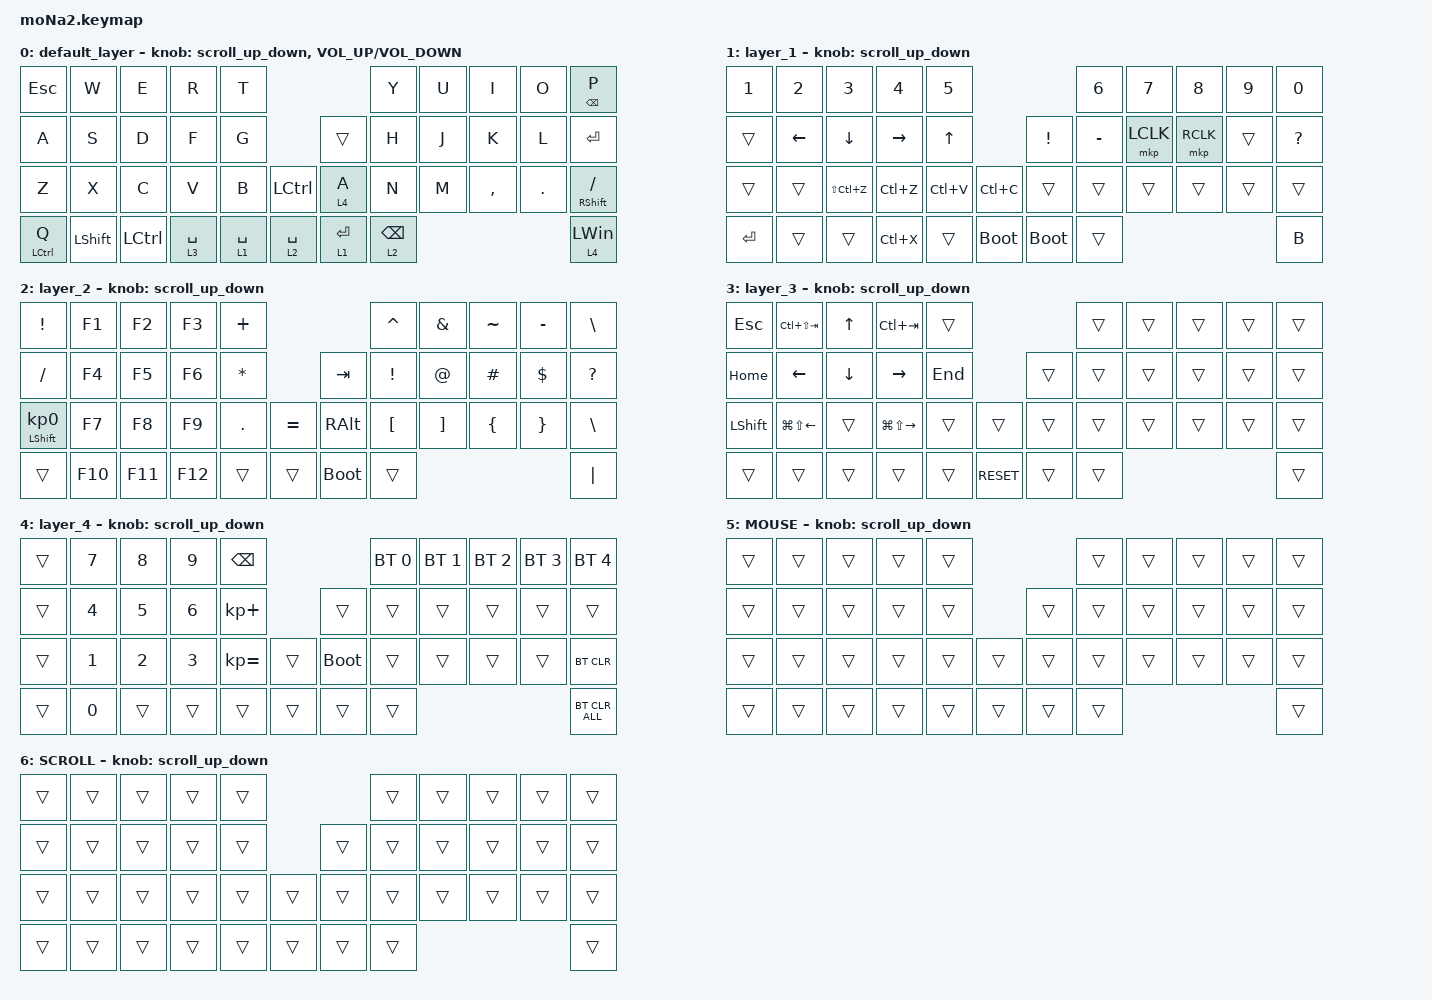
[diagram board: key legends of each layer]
#include <behaviors.dtsi>
#include <dt-bindings/zmk/bt.h>
#include <dt-bindings/zmk/keys.h>
#include <dt-bindings/zmk/pointing.h>

#define ZMK_POINTING_DEFAULT_SCRL_VAL 100
#define MOUSE 5
#define SCROLL 6

&mt {
    flavor = "balanced";
    quick-tap-ms = <0>;
};

/ {
    combos { compatible = "zmk,combos"; };

    macros {
        to_layer_0: to_layer_0 {
            compatible = "zmk,behavior-macro-one-param";
            #binding-cells = <1>;
            bindings = <&to 0 &macro_param_1to1 &kp MACRO_PLACEHOLDER>;
            label = "TO_LAYER_0";
        };
    };

    behaviors {
        lt_to_layer_0: lt_to_layer_0 {
            compatible = "zmk,behavior-hold-tap";
            label = "LAYER_TAP_TO_0";
            bindings = <&mo>, <&to_layer_0>;

            #binding-cells = <2>;
            tapping-term-ms = <1000>;
        };

        scroll_up_down: behavior_sensor_rotate_mouse_wheel_up_down {
            compatible = "zmk,behavior-sensor-rotate";
            #sensor-binding-cells = <0>;
            bindings = <&msc SCRL_UP>, <&msc SCRL_DOWN>;

            tap-ms = <20>;
        };
    };

    keymap {
        compatible = "zmk,keymap";

        default_layer {
            bindings = <
&kp ESCAPE   &kp W           &kp E      &kp R        &kp T                                    &kp Y            &kp U  &kp I      &kp O    &mt BACKSPACE P
&kp A        &kp S           &kp D      &kp F        &kp G                       &trans       &kp H            &kp J  &kp K      &kp L    &kp ENTER
&kp Z        &kp X           &kp C      &kp V        &kp B        &kp LCTRL      &lt 4 A      &kp N            &kp M  &kp COMMA  &kp DOT  &mt RIGHT_SHIFT SLASH
&mt LCTRL Q  &kp LEFT_SHIFT  &kp LCTRL  &lt 3 SPACE  &lt 1 SPACE  &lt 2 SPACE    &lt 1 ENTER  &lt 2 BACKSPACE                             &lt 4 LEFT_WIN
            >;

            sensor-bindings =
                <&scroll_up_down>,
                <&inc_dec_kp C_VOLUME_UP C_VOLUME_DOWN>;
        };

        layer_1 {
            bindings = <
&kp NUMBER_1  &kp NUMBER_2    &kp NUMBER_3    &kp NUMBER_4     &kp N5                                        &kp N6     &kp N7     &kp N8     &kp N9  &kp N0
&trans        &kp LEFT_ARROW  &kp DOWN_ARROW  &kp RIGHT_ARROW  &kp UP_ARROW                 &kp EXCLAMATION  &kp MINUS  &mkp LCLK  &mkp RCLK  &trans  &kp QUESTION
&trans        &trans          &kp LS(LC(Z))   &kp LC(Z)        &kp LC(V)     &kp LC(C)      &trans           &trans     &trans     &trans     &trans  &trans
&kp ENTER     &trans          &trans          &kp LC(X)        &trans        &bootloader    &bootloader      &trans                                   &kp B
            >;

            sensor-bindings = <&scroll_up_down>;
        };

        layer_2 {
            bindings = <
&kp EXCLAMATION             &kp F1   &kp F2   &kp F3   &kp PLUS                                  &kp CARET         &kp AMPERSAND      &kp TILDE       &kp MINUS        &kp BACKSLASH
&kp SLASH                   &kp F4   &kp F5   &kp F6   &kp ASTERISK               &kp TAB        &kp EXCLAMATION   &kp AT_SIGN        &kp HASH        &kp DOLLAR       &kp QUESTION
&mt LEFT_SHIFT KP_NUMBER_0  &kp F7   &kp F8   &kp F9   &kp PERIOD    &kp EQUAL    &kp RIGHT_ALT  &kp LEFT_BRACKET  &kp RIGHT_BRACKET  &kp LEFT_BRACE  &kp RIGHT_BRACE  &kp BACKSLASH
&trans                      &kp F10  &kp F11  &kp F12  &trans        &trans       &bootloader    &trans                                                                &kp PIPE
            >;

            sensor-bindings = <&scroll_up_down>;
        };

        layer_3 {
            bindings = <
&kp ESCAPE      &kp LC(LS(TAB))         &kp UP_ARROW    &kp LC(TAB)              &trans                          &trans  &trans  &trans  &trans  &trans
&kp HOME        &kp LEFT_ARROW          &kp DOWN_ARROW  &kp RIGHT_ARROW          &kp END                 &trans  &trans  &trans  &trans  &trans  &trans
&kp LEFT_SHIFT  &kp LG(LS(LEFT_ARROW))  &trans          &kp LG(LS(RIGHT_ARROW))  &trans   &trans         &trans  &trans  &trans  &trans  &trans  &trans
&trans          &trans                  &trans          &trans                   &trans   &kp C_RESET    &trans  &trans                          &trans
            >;

            sensor-bindings = <&scroll_up_down>;
        };

        layer_4 {
            bindings = <
&trans  &kp NUMBER_7  &kp NUMBER_8  &kp NUMBER_9  &kp BACKSPACE                         &bt BT_SEL 0  &bt BT_SEL 1  &bt BT_SEL 2  &bt BT_SEL 3  &bt BT_SEL 4
&trans  &kp NUMBER_4  &kp NUMBER_5  &kp NUMBER_6  &kp KP_PLUS              &trans       &trans        &trans        &trans        &trans        &trans
&trans  &kp NUMBER_1  &kp NUMBER_2  &kp NUMBER_3  &kp KP_EQUAL   &trans    &bootloader  &trans        &trans        &trans        &trans        &bt BT_CLR
&trans  &kp NUMBER_0  &trans        &trans        &trans         &trans    &trans       &trans                                                  &bt BT_CLR_ALL
            >;

            sensor-bindings = <&scroll_up_down>;
        };

        MOUSE {
            bindings = <
&trans  &trans  &trans  &trans  &trans                    &trans  &trans  &trans  &trans  &trans
&trans  &trans  &trans  &trans  &trans            &trans  &trans  &trans  &trans  &trans  &trans
&trans  &trans  &trans  &trans  &trans  &trans    &trans  &trans  &trans  &trans  &trans  &trans
&trans  &trans  &trans  &trans  &trans  &trans    &trans  &trans                          &trans
            >;

            sensor-bindings = <&scroll_up_down>;
        };

        SCROLL {
            bindings = <
&trans  &trans  &trans  &trans  &trans                    &trans  &trans  &trans  &trans  &trans
&trans  &trans  &trans  &trans  &trans            &trans  &trans  &trans  &trans  &trans  &trans
&trans  &trans  &trans  &trans  &trans  &trans    &trans  &trans  &trans  &trans  &trans  &trans
&trans  &trans  &trans  &trans  &trans  &trans    &trans  &trans                          &trans
            >;

            sensor-bindings = <&scroll_up_down>;
        };
    };
};
